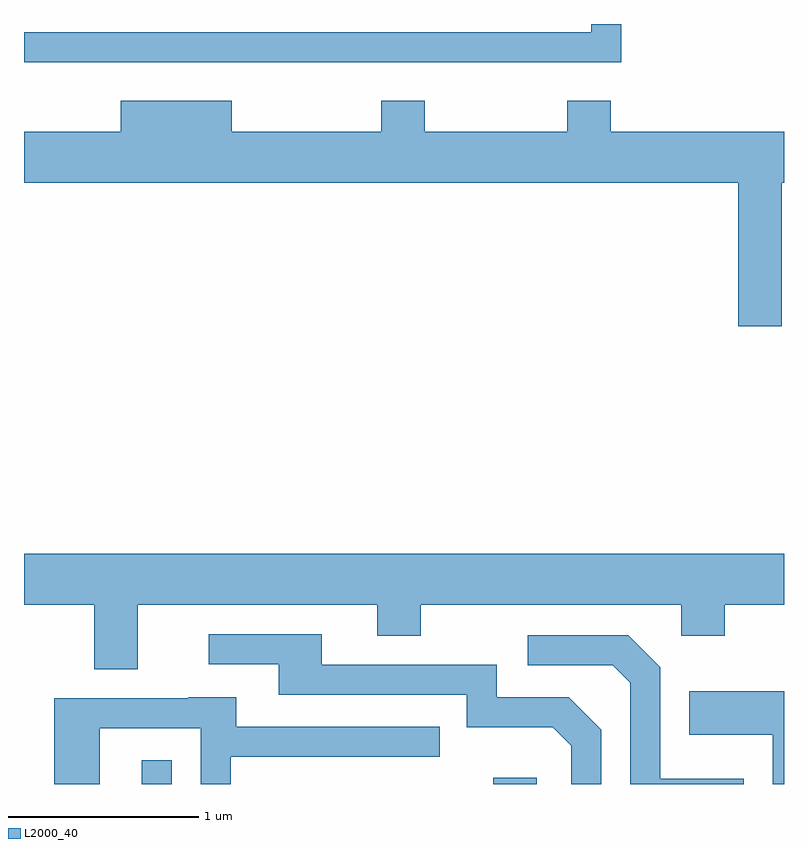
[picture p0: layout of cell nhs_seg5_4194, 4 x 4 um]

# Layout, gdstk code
import gdstk
lib = gdstk.Library(unit=1e-6, precision=1e-09)
def R(c, l, rs):  # rectangles x0, y0, x1, y1
    for r in rs: c.add(gdstk.rectangle(r[:2], r[2:], *l))
def P(c, l, *ps):  # polygons
    for p in ps: c.add(gdstk.Polygon(p, *l))
L2000_40 = (2000, 40)

nhs_seg5_4194 = lib.new_cell('nhs_seg5_4194')
R(nhs_seg5_4194, L2000_40, [(310.231,1458.072,310.389,1458.198), (312.081,1458.072,312.309,1458.104)])
P(nhs_seg5_4194, L2000_40, [(312.754,1462.072),(312.596,1462.072),(312.596,1462.029),(309.611,1462.029),(309.611,1461.871),(312.754,1461.871)],
  [(313.599,1461.236),(313.611,1461.236),(313.611,1461.504),(312.699,1461.504),(312.699,1461.669),(312.471,1461.669),(312.471,1461.504),(311.719,1461.504),(311.719,1461.669),(311.491,1461.669),(311.491,1461.504),(310.704,1461.504),(310.704,1461.669),(310.121,1461.669),(310.121,1461.504),(309.611,1461.504),(309.611,1461.236),(313.371,1461.236),(313.371,1460.481),(313.599,1460.481)],
  [(310.209,1459.016),(311.471,1459.016),(311.471,1458.851),(311.699,1458.851),(311.699,1459.016),(313.071,1459.016),(313.071,1458.851),(313.299,1458.851),(313.299,1459.016),(313.611,1459.016),(313.611,1459.284),(309.611,1459.284),(309.611,1459.016),(309.981,1459.016),(309.981,1458.676),(310.209,1458.676)],
  [(312.649,1458.357),(312.477,1458.529),(312.099,1458.529),(312.099,1458.699),(311.179,1458.699),(311.179,1458.859),(310.583,1458.859),(310.583,1458.701),(310.951,1458.701),(310.951,1458.541),(311.941,1458.541),(311.941,1458.371),(312.394,1458.371),(312.491,1458.274),(312.491,1458.072),(312.649,1458.072)],
  [(313.399,1458.099),(312.959,1458.099),(312.959,1458.687),(312.792,1458.854),(312.263,1458.854),(312.263,1458.696),(312.709,1458.696),(312.801,1458.604),(312.801,1458.072),(313.399,1458.072)],
  [(313.611,1458.559),(313.111,1458.559),(313.111,1458.331),(313.551,1458.331),(313.551,1458.072),(313.611,1458.072)],
  [(310.009,1458.366),(310.541,1458.366),(310.541,1458.072),(310.699,1458.072),(310.699,1458.216),(311.798,1458.216),(311.798,1458.374),(310.729,1458.374),(310.729,1458.529),(310.475,1458.529),(310.475,1458.524),(309.771,1458.524),(309.771,1458.072),(310.009,1458.072)])

lib.write_gds('nhs_seg5_4194.gds')
